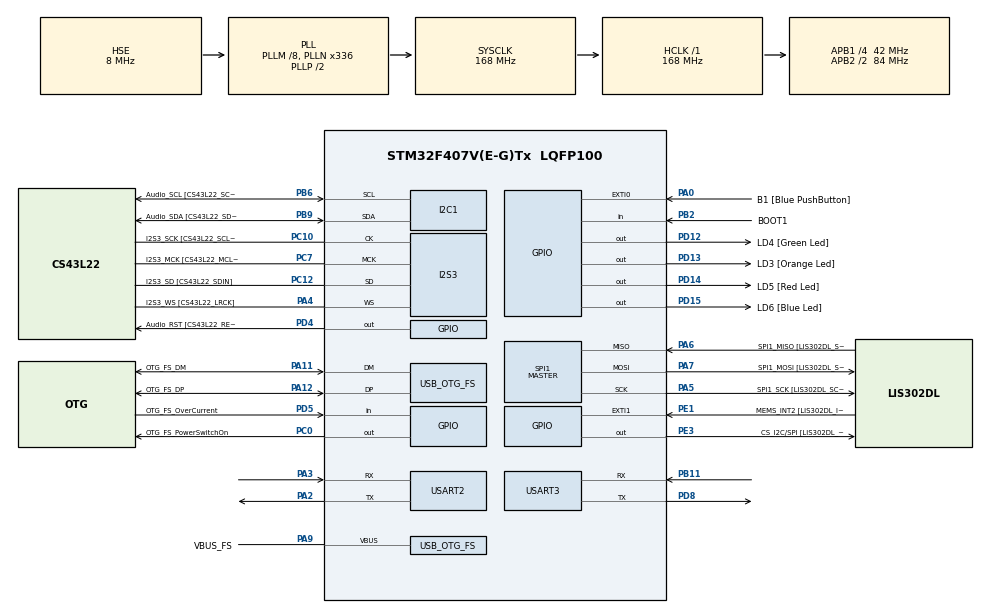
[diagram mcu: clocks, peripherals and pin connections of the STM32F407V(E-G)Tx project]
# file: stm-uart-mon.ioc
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I2S3.AudioFreq-Half_Duplex_Master=I2S_AUDIOFREQ_96K
I2S3.ErrorAudioFreq=-2.34 %
I2S3.ErrorAudioFreq-Half_Duplex_Master=0.8 %
I2S3.FullDuplexMode=I2S_FULLDUPLEXMODE_DISABLE
I2S3.Instance=SPI$Index
I2S3.RealAudioFreq=93.75 KHz
I2S3.RealAudioFreq-Half_Duplex_Master=96.774 KHz
I2S3.VirtualMode=I2S_MODE_MASTER
Mcu.Family=STM32F4
Mcu.Name=STM32F407V(E-G)Tx
Mcu.Package=LQFP100
NVIC.OTG_FS_IRQn=true\:0\:0\:false\:false\:true\:true\:true
NVIC.PriorityGroup=NVIC_PRIORITYGROUP_0
NVIC.USART2_IRQn=true\:0\:0\:false\:false\:true\:true\:true
NVIC.USART3_IRQn=true\:0\:0\:false\:false\:true\:true\:true
PA0-WKUP.GPIO_Label=B1 [Blue PushButton]
PA0-WKUP.GPIO_ModeDefaultEXTI=GPIO_MODE_EVT_RISING
PA0-WKUP.GPIO_PuPd=GPIO_NOPULL
PA0-WKUP.Signal=GPXTI0
PA10.GPIO_Label=OTG_FS_ID
PA10.GPIO_Mode=GPIO_MODE_AF_PP
PA10.GPIO_PuPd=GPIO_NOPULL
PA10.GPIO_Speed=GPIO_SPEED_FREQ_LOW
PA10.Signal=USB_OTG_FS_ID
PA11.GPIO_Label=OTG_FS_DM
PA11.GPIO_Mode=GPIO_MODE_AF_PP
PA11.GPIO_PuPd=GPIO_NOPULL
PA11.GPIO_Speed=GPIO_SPEED_FREQ_LOW
PA11.Mode=Device_Only
PA11.Signal=USB_OTG_FS_DM
PA12.GPIO_Label=OTG_FS_DP
PA12.GPIO_Mode=GPIO_MODE_AF_PP
PA12.GPIO_PuPd=GPIO_NOPULL
PA12.GPIO_Speed=GPIO_SPEED_FREQ_LOW
PA12.Mode=Device_Only
PA12.Signal=USB_OTG_FS_DP
PA13.GPIO_Label=SWDIO
PA13.Mode=Serial_Wire
PA13.Signal=SYS_JTMS-SWDIO
PA14.GPIO_Label=SWCLK
PA14.Mode=Serial_Wire
PA14.Signal=SYS_JTCK-SWCLK
PA2.Mode=Asynchronous
PA2.Signal=USART2_TX
PA3.Mode=Asynchronous
PA3.Signal=USART2_RX
PA4.GPIO_Label=I2S3_WS [CS43L22_LRCK]
PA4.GPIO_Mode=GPIO_MODE_AF_PP
PA4.GPIO_PuPd=GPIO_NOPULL
PA4.GPIO_Speed=GPIO_SPEED_FREQ_LOW
PA4.Mode=Half_Duplex_Master
PA4.Signal=I2S3_WS
PA5.GPIO_Label=SPI1_SCK [LIS302DL_SCL/SPC]
PA5.GPIO_Mode=GPIO_MODE_AF_PP
PA5.GPIO_PuPd=GPIO_NOPULL
PA5.GPIO_Speed=GPIO_SPEED_FREQ_LOW
PA5.Mode=Full_Duplex_Master
PA5.Signal=SPI1_SCK
PA6.GPIO_Label=SPI1_MISO [LIS302DL_SDO]
PA6.GPIO_Mode=GPIO_MODE_AF_PP
PA6.GPIO_PuPd=GPIO_NOPULL
PA6.GPIO_Speed=GPIO_SPEED_FREQ_LOW
PA6.Mode=Full_Duplex_Master
PA6.Signal=SPI1_MISO
PA7.GPIO_Label=SPI1_MOSI [LIS302DL_SDA/SDI/SDO]
PA7.GPIO_Mode=GPIO_MODE_AF_PP
PA7.GPIO_PuPd=GPIO_NOPULL
PA7.GPIO_Speed=GPIO_SPEED_FREQ_LOW
PA7.Mode=Full_Duplex_Master
PA7.Signal=SPI1_MOSI
PA9.GPIO_Label=VBUS_FS
PA9.GPIO_Mode=GPIO_MODE_INPUT
PA9.GPIO_PuPd=GPIO_NOPULL
PA9.Mode=Activate_VBUS
PA9.Signal=USB_OTG_FS_VBUS
PB10.GPIO_Label=CLK_IN [MP45DT02_CLK]
PB10.GPIO_Mode=GPIO_MODE_AF_PP
PB10.GPIO_PuPd=GPIO_NOPULL
PB10.GPIO_Speed=GPIO_SPEED_FREQ_LOW
PB10.Signal=I2S2_CK
PB11.Mode=Asynchronous
PB11.Signal=USART3_RX
PB2.GPIO_Label=BOOT1
PB2.GPIO_Mode=GPIO_MODE_INPUT
PB2.GPIO_PuPd=GPIO_NOPULL
PB2.Signal=GPIO_Input
PB3.GPIO_Label=SWO
PB3.Signal=SYS_JTDO-SWO
PB6.GPIO_Label=Audio_SCL [CS43L22_SCL]
PB6.GPIO_Mode=GPIO_MODE_AF_OD
PB6.GPIO_PuPd=GPIO_NOPULL
PB6.GPIO_Speed=GPIO_SPEED_FREQ_LOW
PB6.Mode=I2C
PB6.Signal=I2C1_SCL
PB9.GPIO_Label=Audio_SDA [CS43L22_SDA]
PB9.GPIO_Mode=GPIO_MODE_AF_OD
PB9.GPIO_PuPd=GPIO_NOPULL
PB9.GPIO_Speed=GPIO_SPEED_FREQ_LOW
PB9.Mode=I2C
PB9.Signal=I2C1_SDA
PC0.GPIO_Label=OTG_FS_PowerSwitchOn
PC0.GPIO_PuPd=GPIO_NOPULL
PC0.GPIO_Speed=GPIO_SPEED_FREQ_LOW
PC0.PinState=GPIO_PIN_SET
PC0.Signal=GPIO_Output
PC10.GPIO_Label=I2S3_SCK [CS43L22_SCLK]
PC10.GPIO_Mode=GPIO_MODE_AF_PP
PC10.GPIO_PuPd=GPIO_NOPULL
PC10.GPIO_Speed=GPIO_SPEED_FREQ_LOW
PC10.Mode=Half_Duplex_Master
PC10.Signal=I2S3_CK
PC12.GPIO_Label=I2S3_SD [CS43L22_SDIN]
PC12.GPIO_Mode=GPIO_MODE_AF_PP
PC12.GPIO_PuPd=GPIO_NOPULL
PC12.GPIO_Speed=GPIO_SPEED_FREQ_LOW
PC12.Mode=Half_Duplex_Master
PC12.Signal=I2S3_SD
PC14-OSC32_IN.GPIO_Label=PC14-OSC32_IN
PC14-OSC32_IN.Mode=LSE-External-Oscillator
PC14-OSC32_IN.Signal=RCC_OSC32_IN
PC15-OSC32_OUT.GPIO_Label=PC15-OSC32_OUT
PC15-OSC32_OUT.Mode=LSE-External-Oscillator
PC15-OSC32_OUT.Signal=RCC_OSC32_OUT
PC3.GPIO_Label=PDM_OUT [MP45DT02_DOUT]
PC3.GPIO_Mode=GPIO_MODE_AF_PP
PC3.GPIO_PuPd=GPIO_NOPULL
PC3.GPIO_Speed=GPIO_SPEED_FREQ_LOW
PC3.Signal=I2S2_SD
PC7.GPIO_Label=I2S3_MCK [CS43L22_MCLK]
PC7.GPIO_Mode=GPIO_MODE_AF_PP
PC7.GPIO_PuPd=GPIO_NOPULL
PC7.GPIO_Speed=GPIO_SPEED_FREQ_LOW
PC7.Mode=Master_Clock_Activated
PC7.Signal=I2S3_MCK
PD12.GPIO_Label=LD4 [Green Led]
PD12.GPIO_PuPd=GPIO_NOPULL
PD12.GPIO_Speed=GPIO_SPEED_FREQ_LOW
PD12.Signal=GPIO_Output
PD13.GPIO_Label=LD3 [Orange Led]
PD13.GPIO_PuPd=GPIO_NOPULL
PD13.GPIO_Speed=GPIO_SPEED_FREQ_LOW
PD13.Signal=GPIO_Output
PD14.GPIO_Label=LD5 [Red Led]
PD14.GPIO_PuPd=GPIO_NOPULL
PD14.GPIO_Speed=GPIO_SPEED_FREQ_LOW
PD14.Signal=GPIO_Output
PD15.GPIO_Label=LD6 [Blue Led]
PD15.GPIO_PuPd=GPIO_NOPULL
PD15.GPIO_Speed=GPIO_SPEED_FREQ_LOW
PD15.Signal=GPIO_Output
PD4.GPIO_Label=Audio_RST [CS43L22_RESET]
PD4.GPIO_PuPd=GPIO_NOPULL
PD4.GPIO_Speed=GPIO_SPEED_FREQ_LOW
PD4.Signal=GPIO_Output
PD5.GPIO_Label=OTG_FS_OverCurrent
PD5.GPIO_Mode=GPIO_MODE_INPUT
PD5.GPIO_PuPd=GPIO_NOPULL
PD5.Signal=GPIO_Input
PD8.Mode=Asynchronous
PD8.Signal=USART3_TX
PE1.GPIO_Label=MEMS_INT2 [LIS302DL_INT2]
PE1.GPIO_ModeDefaultEXTI=GPIO_MODE_EVT_RISING
PE1.GPIO_PuPd=GPIO_NOPULL
PE1.Signal=GPXTI1
PE3.GPIO_Label=CS_I2C/SPI [LIS302DL_CS_I2C/SPI]
PE3.GPIO_PuPd=GPIO_NOPULL
PE3.GPIO_Speed=GPIO_SPEED_FREQ_LOW
PE3.Signal=GPIO_Output
PH0-OSC_IN.GPIO_Label=PH0-OSC_IN
PH0-OSC_IN.Mode=HSE-External-Oscillator
PH0-OSC_IN.Signal=RCC_OSC_IN
PH1-OSC_OUT.GPIO_Label=PH1-OSC_OUT
PH1-OSC_OUT.Mode=HSE-External-Oscillator
PH1-OSC_OUT.Signal=RCC_OSC_OUT
ProjectManager.HeapSize=0x200
ProjectManager.StackSize=0x400
ProjectManager.TargetToolchain=STM32CubeIDE
RCC.48MHZClocksFreq_Value=48000000
RCC.AHBFreq_Value=168000000
RCC.APB1CLKDivider=RCC_HCLK_DIV4
RCC.APB1Freq_Value=42000000
RCC.APB1TimFreq_Value=84000000
RCC.APB2CLKDivider=RCC_HCLK_DIV2
RCC.APB2Freq_Value=84000000
RCC.APB2TimFreq_Value=168000000
RCC.CortexFreq_Value=168000000
RCC.HCLKFreq_Value=168000000
RCC.HSE_VALUE=8000000
RCC.HSI_VALUE=16000000
RCC.PLLM=8
RCC.PLLN=336
RCC.PLLQ=7
RCC.SYSCLKFreq_VALUE=168000000
RCC.SYSCLKSource=RCC_SYSCLKSOURCE_PLLCLK
RCC.VCOOutputFreq_Value=336000000
SPI1.BaudRatePrescaler-Full_Duplex_Master=SPI_BAUDRATEPRESCALER_2
SPI1.CalculateBaudRate-Full_Duplex_Master=42.0 MBits/s
SPI1.Direction=SPI_DIRECTION_2LINES
SPI1.Mode=SPI_MODE_MASTER
SPI1.Mode-Full_Duplex_Master=SPI_MODE_MASTER
SPI1.VirtualType=VM_MASTER
USART2.VirtualMode=VM_ASYNC
USART3.VirtualMode=VM_ASYNC
USB_DEVICE.CLASS_NAME_FS=CDC
USB_DEVICE.VirtualMode-CDC_FS=Cdc
USB_DEVICE.VirtualModeFS=Cdc_FS
USB_OTG_FS.VirtualMode=Device_Only
VP_USB_DEVICE_VS_USB_DEVICE_CDC_FS.Mode=CDC_FS
board=STM32F407G-DISC1

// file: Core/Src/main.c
/* USER CODE BEGIN Header */
/**
  ******************************************************************************
  * @file           : main.c
  * @brief          : Main program body
  ******************************************************************************
  * @attention
  *
  * <h2><center>&copy; Copyright (c) 2020 STMicroelectronics.
  * All rights reserved.</center></h2>
  *
  * This software component is licensed by ST under Ultimate Liberty license
  * SLA0044, the "License"; You may not use this file except in compliance with
  * the License. You may obtain a copy of the License at:
  *                             www.st.com/SLA0044
  *
  ******************************************************************************
  */
/* USER CODE END Header */

#include "main.h"
#include "usb_device.h"

/* USER CODE BEGIN Includes */
#include "usbd_cdc_if.h"
#include "bwl_strings.h"
/* USER CODE END Includes */

/* USER CODE BEGIN PD */
#define BUF_SIZE 1
#define CDC_BUF_SIZE 512
uint8_t cdc_tx_buffer[CDC_BUF_SIZE]={};
int cdc_tx_buffer_index=0;
int menu_system_state=-1;
int tx_to_port=0;

/* USER CODE END PD */

I2C_HandleTypeDef hi2c1;

I2S_HandleTypeDef hi2s3;

SPI_HandleTypeDef hspi1;

UART_HandleTypeDef huart2;
UART_HandleTypeDef huart3;

/* USER CODE BEGIN PV */
uint8_t buf_rx2[BUF_SIZE];
uint8_t buf_rx3[BUF_SIZE];
/* USER CODE END PV */

void SystemClock_Config(void);
static void MX_GPIO_Init(void);
static void MX_I2C1_Init(void);
static void MX_I2S3_Init(void);
static void MX_SPI1_Init(void);
static void MX_USART2_UART_Init(void);
static void MX_USART3_UART_Init(void);

/* USER CODE BEGIN 0 */

void MenuMainMenu()
{
	string_clear();
	string_add_crlf();string_add_crlf();
	string_add_string("UART Monitor");string_add_crlf();
	string_add_string("UART2 Tx:PA2,  Rx: PA3,  Baud:");string_add_int(huart2.Init.BaudRate);
	string_add_string(", selected:");string_add_plusminus((tx_to_port==2));string_add_crlf();
	string_add_string("UART3 Tx:PD8,  Rx: PB11, Baud:");string_add_int(huart3.Init.BaudRate);
	string_add_string(", selected:");string_add_plusminus((tx_to_port==3));string_add_crlf();
	string_add_crlf();
	string_add_string("2. configure UART2");string_add_crlf();
	string_add_string("3. configure UART3");string_add_crlf();
	string_add_string("> ");
	CDC_Transmit_FS(string_buffer, strlen(string_buffer));
	menu_system_state=0;
}

void MenuSystem(char key)
{

	if (menu_system_state==-1)
	{
		if (key==0x16)
		{
			MenuMainMenu();
			return;
		}
	}else
	{
		if (key==0x16)
		{
			string_clear();
			string_add_crlf();string_add_crlf();
			string_add_string("Menu closed");string_add_crlf();
			string_add_crlf();
			CDC_Transmit_FS(string_buffer, strlen(string_buffer));
			menu_system_state=-1;
		}
	}

	if (menu_system_state==0)
	{
		string_clear();
		if (key=='2')  {menu_system_state=2;string_add_crlf();string_add_crlf();string_add_string("Configure UART2...");string_add_crlf();}
		if (key=='3')  {menu_system_state=3;string_add_crlf();string_add_crlf();string_add_string("Configure UART3...");string_add_crlf();}
		if ((key=='2')||(key=='3'))
		{
			string_add_string("1> Baud: 2400");string_add_crlf();
			string_add_string("2> Baud: 4800");string_add_crlf();
			string_add_string("3> Baud: 9600");string_add_crlf();
			string_add_string("4> Baud: 19200");string_add_crlf();
			string_add_string("5> Baud: 38400");string_add_crlf();
			string_add_string("6> Baud: 115200");string_add_crlf();
			string_add_string("*> Redirect USB RX to this port");string_add_crlf();
			string_add_string("0> Return");string_add_crlf();
			string_add_string("> ");
			CDC_Transmit_FS(string_buffer, strlen(string_buffer));
		}
		return;
	}

	if (menu_system_state==2)
	{
		if (key=='1'){huart2.Init.BaudRate=2400;HAL_UART_Init(&huart2);MenuMainMenu();}
		if (key=='2'){huart2.Init.BaudRate=4800;HAL_UART_Init(&huart2);MenuMainMenu();}
		if (key=='3'){huart2.Init.BaudRate=9600;HAL_UART_Init(&huart2);MenuMainMenu();}
		if (key=='4'){huart2.Init.BaudRate=19200;HAL_UART_Init(&huart2);MenuMainMenu();}
		if (key=='5'){huart2.Init.BaudRate=38400;HAL_UART_Init(&huart2);MenuMainMenu();}
		if (key=='6'){huart2.Init.BaudRate=115200;HAL_UART_Init(&huart2);MenuMainMenu();}
		if (key=='0'){MenuMainMenu();}
		if (key=='*'){tx_to_port=2;MenuMainMenu();}
		return;
	}

	if (menu_system_state==3)
	{
		if (key=='1'){huart3.Init.BaudRate=2400;HAL_UART_Init(&huart3);MenuMainMenu();}
		if (key=='2'){huart3.Init.BaudRate=4800;HAL_UART_Init(&huart3);MenuMainMenu();}
		if (key=='3'){huart3.Init.BaudRate=9600;HAL_UART_Init(&huart3);MenuMainMenu();}
		if (key=='4'){huart3.Init.BaudRate=19200;HAL_UART_Init(&huart3);MenuMainMenu();}
		if (key=='5'){huart3.Init.BaudRate=38400;HAL_UART_Init(&huart3);MenuMainMenu();}
		if (key=='6'){huart3.Init.BaudRate=115200;HAL_UART_Init(&huart3);MenuMainMenu();}
		if (key=='0'){MenuMainMenu();}
		if (key=='*'){tx_to_port=3;MenuMainMenu();}
		return;
	}
}
/* USER CODE END 0 */

int main(void)
{

  /* MCU Configuration--------------------------------------------------------*/

  /* Reset of all peripherals, Initializes the Flash interface and the Systick. */
  HAL_Init();

  /* Configure the system clock */
  SystemClock_Config();

  /* Initialize all configured peripherals */
  MX_GPIO_Init();
  MX_I2C1_Init();
  MX_I2S3_Init();
  MX_SPI1_Init();
  MX_USART2_UART_Init();
  MX_USART3_UART_Init();
  MX_USB_DEVICE_Init();
  /* USER CODE BEGIN 2 */
  HAL_UART_Receive_IT(&huart2, &buf_rx2, sizeof(buf_rx2));
  HAL_UART_Receive_IT(&huart3, &buf_rx3, sizeof(buf_rx3));
  /* USER CODE END 2 */

  /* Infinite loop */
  /* USER CODE BEGIN WHILE */
  uint8_t cdc_tx_buffer_copy[CDC_BUF_SIZE];
  int cdc_tx_buffer_index_copy;
  while (1)
  {
	  if (cdc_tx_buffer_index>0)
	  {
		  memcpy(cdc_tx_buffer_copy,cdc_tx_buffer,cdc_tx_buffer_index);
		  cdc_tx_buffer_index_copy=cdc_tx_buffer_index;
		  cdc_tx_buffer_index=0;
		  CDC_Transmit_FS(cdc_tx_buffer_copy, cdc_tx_buffer_index_copy);
		  HAL_Delay(200);
	  }
    /* USER CODE END WHILE */

  }
}

void SystemClock_Config(void)
{
  RCC_OscInitTypeDef RCC_OscInitStruct = {0};
  RCC_ClkInitTypeDef RCC_ClkInitStruct = {0};
  RCC_PeriphCLKInitTypeDef PeriphClkInitStruct = {0};

  /** Configure the main internal regulator output voltage
  */
  __HAL_RCC_PWR_CLK_ENABLE();
  __HAL_PWR_VOLTAGESCALING_CONFIG(PWR_REGULATOR_VOLTAGE_SCALE1);
  /** Initializes the CPU, AHB and APB busses clocks
  */
  RCC_OscInitStruct.OscillatorType = RCC_OSCILLATORTYPE_HSE;
  RCC_OscInitStruct.HSEState = RCC_HSE_ON;
  RCC_OscInitStruct.PLL.PLLState = RCC_PLL_ON;
  RCC_OscInitStruct.PLL.PLLSource = RCC_PLLSOURCE_HSE;
  RCC_OscInitStruct.PLL.PLLM = 8;
  RCC_OscInitStruct.PLL.PLLN = 336;
  RCC_OscInitStruct.PLL.PLLP = RCC_PLLP_DIV2;
  RCC_OscInitStruct.PLL.PLLQ = 7;
  if (HAL_RCC_OscConfig(&RCC_OscInitStruct) != HAL_OK)
  {
    Error_Handler();
  }
  /** Initializes the CPU, AHB and APB busses clocks
  */
  RCC_ClkInitStruct.ClockType = RCC_CLOCKTYPE_HCLK|RCC_CLOCKTYPE_SYSCLK
                              |RCC_CLOCKTYPE_PCLK1|RCC_CLOCKTYPE_PCLK2;
  RCC_ClkInitStruct.SYSCLKSource = RCC_SYSCLKSOURCE_PLLCLK;
  RCC_ClkInitStruct.AHBCLKDivider = RCC_SYSCLK_DIV1;
  RCC_ClkInitStruct.APB1CLKDivider = RCC_HCLK_DIV4;
  RCC_ClkInitStruct.APB2CLKDivider = RCC_HCLK_DIV2;

  if (HAL_RCC_ClockConfig(&RCC_ClkInitStruct, FLASH_LATENCY_5) != HAL_OK)
  {
    Error_Handler();
  }
  PeriphClkInitStruct.PeriphClockSelection = RCC_PERIPHCLK_I2S;
  PeriphClkInitStruct.PLLI2S.PLLI2SN = 192;
  PeriphClkInitStruct.PLLI2S.PLLI2SR = 2;
  if (HAL_RCCEx_PeriphCLKConfig(&PeriphClkInitStruct) != HAL_OK)
  {
    Error_Handler();
  }
}

static void MX_I2C1_Init(void)
{

  hi2c1.Instance = I2C1;
  hi2c1.Init.ClockSpeed = 100000;
  hi2c1.Init.DutyCycle = I2C_DUTYCYCLE_2;
  hi2c1.Init.OwnAddress1 = 0;
  hi2c1.Init.AddressingMode = I2C_ADDRESSINGMODE_7BIT;
  hi2c1.Init.DualAddressMode = I2C_DUALADDRESS_DISABLE;
  hi2c1.Init.OwnAddress2 = 0;
  hi2c1.Init.GeneralCallMode = I2C_GENERALCALL_DISABLE;
  hi2c1.Init.NoStretchMode = I2C_NOSTRETCH_DISABLE;
  if (HAL_I2C_Init(&hi2c1) != HAL_OK)
  {
    Error_Handler();
  }

}

static void MX_I2S3_Init(void)
{

  hi2s3.Instance = SPI3;
  hi2s3.Init.Mode = I2S_MODE_MASTER_TX;
  hi2s3.Init.Standard = I2S_STANDARD_PHILIPS;
  hi2s3.Init.DataFormat = I2S_DATAFORMAT_16B;
  hi2s3.Init.MCLKOutput = I2S_MCLKOUTPUT_ENABLE;
  hi2s3.Init.AudioFreq = I2S_AUDIOFREQ_96K;
  hi2s3.Init.CPOL = I2S_CPOL_LOW;
  hi2s3.Init.ClockSource = I2S_CLOCK_PLL;
  hi2s3.Init.FullDuplexMode = I2S_FULLDUPLEXMODE_DISABLE;
  if (HAL_I2S_Init(&hi2s3) != HAL_OK)
  {
    Error_Handler();
  }

}

static void MX_SPI1_Init(void)
{

  /* SPI1 parameter configuration*/
  hspi1.Instance = SPI1;
  hspi1.Init.Mode = SPI_MODE_MASTER;
  hspi1.Init.Direction = SPI_DIRECTION_2LINES;
  hspi1.Init.DataSize = SPI_DATASIZE_8BIT;
  hspi1.Init.CLKPolarity = SPI_POLARITY_LOW;
  hspi1.Init.CLKPhase = SPI_PHASE_1EDGE;
  hspi1.Init.NSS = SPI_NSS_SOFT;
  hspi1.Init.BaudRatePrescaler = SPI_BAUDRATEPRESCALER_2;
  hspi1.Init.FirstBit = SPI_FIRSTBIT_MSB;
  hspi1.Init.TIMode = SPI_TIMODE_DISABLE;
  hspi1.Init.CRCCalculation = SPI_CRCCALCULATION_DISABLE;
  hspi1.Init.CRCPolynomial = 10;
  if (HAL_SPI_Init(&hspi1) != HAL_OK)
  {
    Error_Handler();
  }

}

static void MX_USART2_UART_Init(void)
{

  huart2.Instance = USART2;
  huart2.Init.BaudRate = 115200;
  huart2.Init.WordLength = UART_WORDLENGTH_8B;
  huart2.Init.StopBits = UART_STOPBITS_1;
  huart2.Init.Parity = UART_PARITY_NONE;
  huart2.Init.Mode = UART_MODE_TX_RX;
  huart2.Init.HwFlowCtl = UART_HWCONTROL_NONE;
  huart2.Init.OverSampling = UART_OVERSAMPLING_16;
  if (HAL_UART_Init(&huart2) != HAL_OK)
  {
    Error_Handler();
  }

}

static void MX_USART3_UART_Init(void)
{

  huart3.Instance = USART3;
  huart3.Init.BaudRate = 115200;
  huart3.Init.WordLength = UART_WORDLENGTH_8B;
  huart3.Init.StopBits = UART_STOPBITS_1;
  huart3.Init.Parity = UART_PARITY_NONE;
  huart3.Init.Mode = UART_MODE_TX_RX;
  huart3.Init.HwFlowCtl = UART_HWCONTROL_NONE;
  huart3.Init.OverSampling = UART_OVERSAMPLING_16;
  if (HAL_UART_Init(&huart3) != HAL_OK)
  {
    Error_Handler();
  }

}

static void MX_GPIO_Init(void)
{
  GPIO_InitTypeDef GPIO_InitStruct = {0};

  /* GPIO Ports Clock Enable */
  __HAL_RCC_GPIOE_CLK_ENABLE();
  __HAL_RCC_GPIOC_CLK_ENABLE();
  __HAL_RCC_GPIOH_CLK_ENABLE();
  __HAL_RCC_GPIOA_CLK_ENABLE();
  __HAL_RCC_GPIOB_CLK_ENABLE();
  __HAL_RCC_GPIOD_CLK_ENABLE();

  /*Configure GPIO pin Output Level */
  HAL_GPIO_WritePin(CS_I2C_SPI_GPIO_Port, CS_I2C_SPI_Pin, GPIO_PIN_RESET);

  /*Configure GPIO pin Output Level */
  HAL_GPIO_WritePin(OTG_FS_PowerSwitchOn_GPIO_Port, OTG_FS_PowerSwitchOn_Pin, GPIO_PIN_SET);

  /*Configure GPIO pin Output Level */
  HAL_GPIO_WritePin(GPIOD, LD4_Pin|LD3_Pin|LD5_Pin|LD6_Pin
                          |Audio_RST_Pin, GPIO_PIN_RESET);

  /*Configure GPIO pin : CS_I2C_SPI_Pin */
  GPIO_InitStruct.Pin = CS_I2C_SPI_Pin;
  GPIO_InitStruct.Mode = GPIO_MODE_OUTPUT_PP;
  GPIO_InitStruct.Pull = GPIO_NOPULL;
  GPIO_InitStruct.Speed = GPIO_SPEED_FREQ_LOW;
  HAL_GPIO_Init(CS_I2C_SPI_GPIO_Port, &GPIO_InitStruct);

  /*Configure GPIO pin : OTG_FS_PowerSwitchOn_Pin */
  GPIO_InitStruct.Pin = OTG_FS_PowerSwitchOn_Pin;
  GPIO_InitStruct.Mode = GPIO_MODE_OUTPUT_PP;
  GPIO_InitStruct.Pull = GPIO_NOPULL;
  GPIO_InitStruct.Speed = GPIO_SPEED_FREQ_LOW;
  HAL_GPIO_Init(OTG_FS_PowerSwitchOn_GPIO_Port, &GPIO_InitStruct);

  /*Configure GPIO pin : PDM_OUT_Pin */
  GPIO_InitStruct.Pin = PDM_OUT_Pin;
  GPIO_InitStruct.Mode = GPIO_MODE_AF_PP;
  GPIO_InitStruct.Pull = GPIO_NOPULL;
  GPIO_InitStruct.Speed = GPIO_SPEED_FREQ_LOW;
  GPIO_InitStruct.Alternate = GPIO_AF5_SPI2;
  HAL_GPIO_Init(PDM_OUT_GPIO_Port, &GPIO_InitStruct);

  /*Configure GPIO pin : B1_Pin */
  GPIO_InitStruct.Pin = B1_Pin;
  GPIO_InitStruct.Mode = GPIO_MODE_EVT_RISING;
  GPIO_InitStruct.Pull = GPIO_NOPULL;
  HAL_GPIO_Init(B1_GPIO_Port, &GPIO_InitStruct);

  /*Configure GPIO pin : BOOT1_Pin */
  GPIO_InitStruct.Pin = BOOT1_Pin;
  GPIO_InitStruct.Mode = GPIO_MODE_INPUT;
  GPIO_InitStruct.Pull = GPIO_NOPULL;
  HAL_GPIO_Init(BOOT1_GPIO_Port, &GPIO_InitStruct);

  /*Configure GPIO pin : CLK_IN_Pin */
  GPIO_InitStruct.Pin = CLK_IN_Pin;
  GPIO_InitStruct.Mode = GPIO_MODE_AF_PP;
  GPIO_InitStruct.Pull = GPIO_NOPULL;
  GPIO_InitStruct.Speed = GPIO_SPEED_FREQ_LOW;
  GPIO_InitStruct.Alternate = GPIO_AF5_SPI2;
  HAL_GPIO_Init(CLK_IN_GPIO_Port, &GPIO_InitStruct);

  /*Configure GPIO pins : LD4_Pin LD3_Pin LD5_Pin LD6_Pin
                           Audio_RST_Pin */
  GPIO_InitStruct.Pin = LD4_Pin|LD3_Pin|LD5_Pin|LD6_Pin
                          |Audio_RST_Pin;
  GPIO_InitStruct.Mode = GPIO_MODE_OUTPUT_PP;
  GPIO_InitStruct.Pull = GPIO_NOPULL;
  GPIO_InitStruct.Speed = GPIO_SPEED_FREQ_LOW;
  HAL_GPIO_Init(GPIOD, &GPIO_InitStruct);

  /*Configure GPIO pin : OTG_FS_OverCurrent_Pin */
  GPIO_InitStruct.Pin = OTG_FS_OverCurrent_Pin;
  GPIO_InitStruct.Mode = GPIO_MODE_INPUT;
  GPIO_InitStruct.Pull = GPIO_NOPULL;
  HAL_GPIO_Init(OTG_FS_OverCurrent_GPIO_Port, &GPIO_InitStruct);

  /*Configure GPIO pin : MEMS_INT2_Pin */
  GPIO_InitStruct.Pin = MEMS_INT2_Pin;
  GPIO_InitStruct.Mode = GPIO_MODE_EVT_RISING;
  GPIO_InitStruct.Pull = GPIO_NOPULL;
  HAL_GPIO_Init(MEMS_INT2_GPIO_Port, &GPIO_InitStruct);

}

/* USER CODE BEGIN 4 */

int last_port=0;

void cdc_tx_buffer_add(uint8_t *src, int len)
{
	for (int i=0; i<len; i++)
	{
		if (cdc_tx_buffer_index<CDC_BUF_SIZE)
		{
			cdc_tx_buffer[cdc_tx_buffer_index]=src[i];
			cdc_tx_buffer_index++;
		}
	}
}

void HAL_UART_RxCpltCallback(UART_HandleTypeDef *huart)
{
	int port=0;
	if (huart == &huart2)
	{
		port=2;
		if (menu_system_state=-1)
		{
			if (port!=last_port) {cdc_tx_buffer_add("<2> ",3);}
			cdc_tx_buffer_add(buf_rx2,sizeof(buf_rx2));
		}
		HAL_UART_Receive_IT(huart, &buf_rx2, sizeof(buf_rx2));
	}
	if (huart == &huart3)
	{
		port=3;
		if (menu_system_state=-1)
		{
			if (port!=last_port) {cdc_tx_buffer_add("<3> ",3);}
			cdc_tx_buffer_add(buf_rx3,sizeof(buf_rx3));
		}
		HAL_UART_Receive_IT(huart, &buf_rx3, sizeof(buf_rx3));
	}
	last_port=port;
}

void HAL_UART_ErrorCallback(UART_HandleTypeDef *huart)
{
	if (huart == &huart2) {HAL_UART_Receive_IT(huart, &buf_rx2, sizeof(buf_rx2));}
	if (huart == &huart3) {HAL_UART_Receive_IT(huart, &buf_rx3, sizeof(buf_rx3));}
}
/* USER CODE END 4 */

void Error_Handler(void)
{
}

/************************ (C) COPYRIGHT STMicroelectronics *****END OF FILE****/
